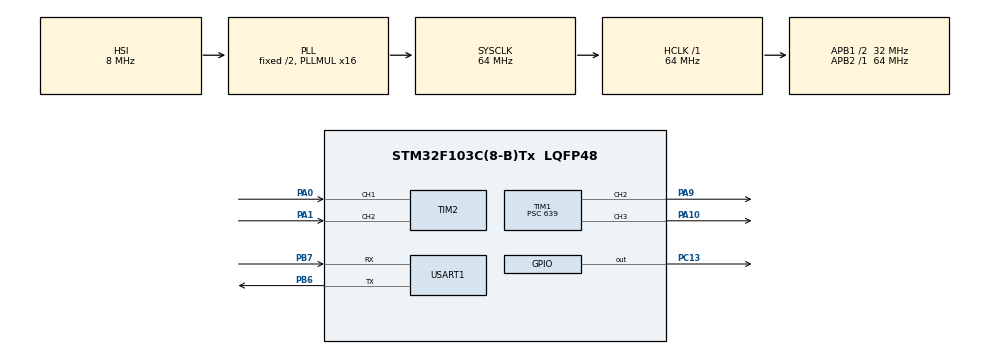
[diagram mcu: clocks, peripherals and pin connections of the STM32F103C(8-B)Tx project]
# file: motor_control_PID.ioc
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Dma.Request0=USART1_RX
Dma.Request1=USART1_TX
Dma.USART1_RX.0.Direction=DMA_PERIPH_TO_MEMORY
Dma.USART1_RX.0.Instance=DMA1_Channel5
Dma.USART1_RX.0.MemDataAlignment=DMA_MDATAALIGN_BYTE
Dma.USART1_RX.0.MemInc=DMA_MINC_ENABLE
Dma.USART1_RX.0.Mode=DMA_NORMAL
Dma.USART1_RX.0.PeriphDataAlignment=DMA_PDATAALIGN_BYTE
Dma.USART1_RX.0.PeriphInc=DMA_PINC_DISABLE
Dma.USART1_RX.0.Priority=DMA_PRIORITY_LOW
Dma.USART1_TX.1.Direction=DMA_MEMORY_TO_PERIPH
Dma.USART1_TX.1.Instance=DMA1_Channel4
Dma.USART1_TX.1.MemDataAlignment=DMA_MDATAALIGN_BYTE
Dma.USART1_TX.1.MemInc=DMA_MINC_ENABLE
Dma.USART1_TX.1.Mode=DMA_NORMAL
Dma.USART1_TX.1.PeriphDataAlignment=DMA_PDATAALIGN_BYTE
Dma.USART1_TX.1.PeriphInc=DMA_PINC_DISABLE
Dma.USART1_TX.1.Priority=DMA_PRIORITY_LOW
Mcu.Family=STM32F1
Mcu.Name=STM32F103C(8-B)Tx
Mcu.Package=LQFP48
NVIC.DMA1_Channel4_IRQn=true\:0\:0\:false\:false\:true\:false\:true\:true
NVIC.DMA1_Channel5_IRQn=true\:0\:0\:false\:false\:true\:false\:true\:true
NVIC.PriorityGroup=NVIC_PRIORITYGROUP_4
NVIC.TIM3_IRQn=true\:0\:0\:false\:false\:true\:true\:true\:true
NVIC.USART1_IRQn=true\:0\:0\:false\:false\:true\:true\:true\:true
PA0-WKUP.Signal=S_TIM2_CH1_ETR
PA1.Signal=S_TIM2_CH2
PA10.Signal=S_TIM1_CH3
PA13.Mode=Serial_Wire
PA13.Signal=SYS_JTMS-SWDIO
PA14.Mode=Serial_Wire
PA14.Signal=SYS_JTCK-SWCLK
PA9.Signal=S_TIM1_CH2
PB6.Mode=Asynchronous
PB6.Signal=USART1_TX
PB7.Mode=Asynchronous
PB7.Signal=USART1_RX
PC13-TAMPER-RTC.Signal=GPIO_Output
PD0-OSC_IN.Mode=HSE-External-Oscillator
PD0-OSC_IN.Signal=RCC_OSC_IN
PD1-OSC_OUT.Mode=HSE-External-Oscillator
PD1-OSC_OUT.Signal=RCC_OSC_OUT
ProjectManager.HeapSize=0x200
ProjectManager.StackSize=0x400
ProjectManager.TargetToolchain=MDK-ARM V5.32
RCC.AHBFreq_Value=64000000
RCC.APB1CLKDivider=RCC_HCLK_DIV2
RCC.APB1Freq_Value=32000000
RCC.APB1TimFreq_Value=64000000
RCC.APB2Freq_Value=64000000
RCC.APB2TimFreq_Value=64000000
RCC.HCLKFreq_Value=64000000
RCC.PLLMUL=RCC_PLL_MUL16
RCC.SYSCLKFreq_VALUE=64000000
RCC.SYSCLKSource=RCC_SYSCLKSOURCE_PLLCLK
RCC.USBFreq_Value=64000000
SH.S_TIM1_CH2.0=TIM1_CH2,PWM Generation2 CH2
SH.S_TIM1_CH3.0=TIM1_CH3,PWM Generation3 CH3
SH.S_TIM2_CH1_ETR.0=TIM2_CH1,Encoder_Interface
SH.S_TIM2_CH2.0=TIM2_CH2,Encoder_Interface
TIM1.Channel-PWM\ Generation2\ CH2=TIM_CHANNEL_2
TIM1.Channel-PWM\ Generation3\ CH3=TIM_CHANNEL_3
TIM1.Period=99
TIM1.Prescaler=639
TIM2.EncoderMode=TIM_ENCODERMODE_TI12
TIM2.IC1Filter=10
TIM2.IC2Filter=10
TIM3.Period=999
TIM3.Prescaler=639
USART1.VirtualMode=VM_ASYNC
VP_TIM3_VS_ClockSourceINT.Mode=Internal
board=custom

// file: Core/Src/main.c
/* USER CODE BEGIN Header */
/**
  ******************************************************************************
  * @file           : main.c
  * @brief          : Main program body
  ******************************************************************************
  * @attention
  *
  * Copyright (c) 2023 STMicroelectronics.
  * All rights reserved.
  *
  * This software is licensed under terms that can be found in the LICENSE file
  * in the root directory of this software component.
  * If no LICENSE file comes with this software, it is provided AS-IS.
  *
  ******************************************************************************
  */
/* USER CODE END Header */
#include "main.h"

/* USER CODE BEGIN Includes */
#include "encoder.h"
#include "motor.h"
#include "ema_filter.h"
#include "pid.h"
#include "cmd_handle.h"
#include "data_transfer_level.h"
#include "send_data_to_Qt.h"
/* USER CODE END Includes */

TIM_HandleTypeDef htim1;
TIM_HandleTypeDef htim2;
TIM_HandleTypeDef htim3;

UART_HandleTypeDef huart1;
DMA_HandleTypeDef hdma_usart1_rx;
DMA_HandleTypeDef hdma_usart1_tx;

void SystemClock_Config(void);
static void MX_GPIO_Init(void);
static void MX_DMA_Init(void);
static void MX_TIM1_Init(void);
static void MX_TIM2_Init(void);
static void MX_TIM3_Init(void);
static void MX_USART1_UART_Init(void);

/* USER CODE BEGIN 0 */

/*Those is object for motor*/
ENCODER foo_encoder;
MOTOR gear_motor;
PID_t velocity_pid;
PID_t position_pid;
EMA_FILTER_t foo_ema_filter;
MODE_t control_mode = MODE_IDLE;
CONTROL_MOTOR_t control_motor = STOP_MOTOR;
/*test*/
MODE_t control_mode_test = VELO_CONTROL_MODE;
CONTROL_MOTOR_t control_motor_test = START_MOTOR;
MOTOR gear_motor_test;
/*-----------------------------------------*/
/*Those are variable for transfering data*/
uint8_t motor_data[MAX_RAW_DATA_TX] = {0};
uint8_t length_motor_data = 0;
uint8_t frame_data_tx[MAX_FRAME_DATA_TX] = {0};
uint8_t length_frame_tx = 0;
uint8_t frame_data_rx[MAX_FRAME_DATA_RX] = {0};
uint8_t length_frame_rx = 0;
uint8_t decoded_data[MAX_RAW_DATA_RX] = {0};
uint16_t length_decoded_data = 0;
uint8_t new_incoming_data = 0;
int8_t check_frame = 0;
float motor_duty_test;
uint32_t test ;

void HAL_UARTEx_RxEventCallback(UART_HandleTypeDef *huart, uint16_t Size)
{
	HAL_UARTEx_ReceiveToIdle_DMA(&huart1,frame_data_rx,MAX_FRAME_DATA_RX);
	__HAL_DMA_DISABLE_IT(&hdma_usart1_rx,DMA_IT_HT);
	length_frame_rx = Size;
	new_incoming_data = 1;
}
/* USER CODE END 0 */

int main(void)
{

  /* MCU Configuration--------------------------------------------------------*/

  /* Reset of all peripherals, Initializes the Flash interface and the Systick. */
  HAL_Init();

  /* Configure the system clock */
  SystemClock_Config();

  /* Initialize all configured peripherals */
  MX_GPIO_Init();
  MX_DMA_Init();
  MX_TIM1_Init();
  MX_TIM2_Init();
  MX_TIM3_Init();
  MX_USART1_UART_Init();
  /* USER CODE BEGIN 2 */
	HAL_UARTEx_ReceiveToIdle_DMA(&huart1,frame_data_rx,MAX_FRAME_DATA_RX);
	__HAL_DMA_DISABLE_IT(&hdma_usart1_rx,DMA_IT_HT);
//	encoder_init(&foo_encoder,&htim2);
	motor_init(&gear_motor,&htim1);
	ema_filter_init(&foo_ema_filter);
	ema_filter_setalpha(&foo_ema_filter,0.1);
//	HAL_TIM_PWM_Start(&htim1, TIM_CHANNEL_2);
//	HAL_TIM_PWM_Start(&htim1, TIM_CHANNEL_3);
//	HAL_TIM_Base_Start_IT(&htim3);

//	pid_init(&velocity_pid,20,0.1,0);
//	gear_motor.set_point_velocity = 20;
//	htim1.Instance->CCR2 = 0;
//	htim1.Instance->CCR3 = 80;
//	control_mode = VELO_CONTROL_MODE;
//	control_motor = START_MOTOR;
  /* USER CODE END 2 */

  /* Infinite loop */
  while (1)
  {

    /* USER CODE BEGIN 3 */
			if (new_incoming_data == 1)
		{
			/*have new frame data that need to check */
			check_frame = decode_received_frame_data(frame_data_rx,&length_frame_rx,decoded_data,&length_decoded_data);
			test_cmd_handler(decoded_data,&gear_motor,&velocity_pid,&position_pid,&foo_encoder,&control_mode, &control_motor,&check_frame,&htim2);
			new_incoming_data = 0;
		}
  }
  /* USER CODE END 3 */
}

void SystemClock_Config(void)
{
  RCC_OscInitTypeDef RCC_OscInitStruct = {0};
  RCC_ClkInitTypeDef RCC_ClkInitStruct = {0};

  /** Initializes the RCC Oscillators according to the specified parameters
  * in the RCC_OscInitTypeDef structure.
  */
  RCC_OscInitStruct.OscillatorType = RCC_OSCILLATORTYPE_HSI;
  RCC_OscInitStruct.HSIState = RCC_HSI_ON;
  RCC_OscInitStruct.HSICalibrationValue = RCC_HSICALIBRATION_DEFAULT;
  RCC_OscInitStruct.PLL.PLLState = RCC_PLL_ON;
  RCC_OscInitStruct.PLL.PLLSource = RCC_PLLSOURCE_HSI_DIV2;
  RCC_OscInitStruct.PLL.PLLMUL = RCC_PLL_MUL16;
  if (HAL_RCC_OscConfig(&RCC_OscInitStruct) != HAL_OK)
  {
    Error_Handler();
  }

  /** Initializes the CPU, AHB and APB buses clocks
  */
  RCC_ClkInitStruct.ClockType = RCC_CLOCKTYPE_HCLK|RCC_CLOCKTYPE_SYSCLK
                              |RCC_CLOCKTYPE_PCLK1|RCC_CLOCKTYPE_PCLK2;
  RCC_ClkInitStruct.SYSCLKSource = RCC_SYSCLKSOURCE_PLLCLK;
  RCC_ClkInitStruct.AHBCLKDivider = RCC_SYSCLK_DIV1;
  RCC_ClkInitStruct.APB1CLKDivider = RCC_HCLK_DIV2;
  RCC_ClkInitStruct.APB2CLKDivider = RCC_HCLK_DIV1;

  if (HAL_RCC_ClockConfig(&RCC_ClkInitStruct, FLASH_LATENCY_2) != HAL_OK)
  {
    Error_Handler();
  }
}

static void MX_TIM1_Init(void)
{

  TIM_MasterConfigTypeDef sMasterConfig = {0};
  TIM_OC_InitTypeDef sConfigOC = {0};
  TIM_BreakDeadTimeConfigTypeDef sBreakDeadTimeConfig = {0};

  htim1.Instance = TIM1;
  htim1.Init.Prescaler = 639;
  htim1.Init.CounterMode = TIM_COUNTERMODE_UP;
  htim1.Init.Period = 99;
  htim1.Init.ClockDivision = TIM_CLOCKDIVISION_DIV1;
  htim1.Init.RepetitionCounter = 0;
  htim1.Init.AutoReloadPreload = TIM_AUTORELOAD_PRELOAD_DISABLE;
  if (HAL_TIM_PWM_Init(&htim1) != HAL_OK)
  {
    Error_Handler();
  }
  sMasterConfig.MasterOutputTrigger = TIM_TRGO_RESET;
  sMasterConfig.MasterSlaveMode = TIM_MASTERSLAVEMODE_DISABLE;
  if (HAL_TIMEx_MasterConfigSynchronization(&htim1, &sMasterConfig) != HAL_OK)
  {
    Error_Handler();
  }
  sConfigOC.OCMode = TIM_OCMODE_PWM1;
  sConfigOC.Pulse = 0;
  sConfigOC.OCPolarity = TIM_OCPOLARITY_HIGH;
  sConfigOC.OCNPolarity = TIM_OCNPOLARITY_HIGH;
  sConfigOC.OCFastMode = TIM_OCFAST_DISABLE;
  sConfigOC.OCIdleState = TIM_OCIDLESTATE_RESET;
  sConfigOC.OCNIdleState = TIM_OCNIDLESTATE_RESET;
  if (HAL_TIM_PWM_ConfigChannel(&htim1, &sConfigOC, TIM_CHANNEL_2) != HAL_OK)
  {
    Error_Handler();
  }
  if (HAL_TIM_PWM_ConfigChannel(&htim1, &sConfigOC, TIM_CHANNEL_3) != HAL_OK)
  {
    Error_Handler();
  }
  sBreakDeadTimeConfig.OffStateRunMode = TIM_OSSR_DISABLE;
  sBreakDeadTimeConfig.OffStateIDLEMode = TIM_OSSI_DISABLE;
  sBreakDeadTimeConfig.LockLevel = TIM_LOCKLEVEL_OFF;
  sBreakDeadTimeConfig.DeadTime = 0;
  sBreakDeadTimeConfig.BreakState = TIM_BREAK_DISABLE;
  sBreakDeadTimeConfig.BreakPolarity = TIM_BREAKPOLARITY_HIGH;
  sBreakDeadTimeConfig.AutomaticOutput = TIM_AUTOMATICOUTPUT_DISABLE;
  if (HAL_TIMEx_ConfigBreakDeadTime(&htim1, &sBreakDeadTimeConfig) != HAL_OK)
  {
    Error_Handler();
  }
  HAL_TIM_MspPostInit(&htim1);

}

static void MX_TIM2_Init(void)
{

  TIM_Encoder_InitTypeDef sConfig = {0};
  TIM_MasterConfigTypeDef sMasterConfig = {0};

  htim2.Instance = TIM2;
  htim2.Init.Prescaler = 0;
  htim2.Init.CounterMode = TIM_COUNTERMODE_UP;
  htim2.Init.Period = 65535;
  htim2.Init.ClockDivision = TIM_CLOCKDIVISION_DIV1;
  htim2.Init.AutoReloadPreload = TIM_AUTORELOAD_PRELOAD_DISABLE;
  sConfig.EncoderMode = TIM_ENCODERMODE_TI12;
  sConfig.IC1Polarity = TIM_ICPOLARITY_RISING;
  sConfig.IC1Selection = TIM_ICSELECTION_DIRECTTI;
  sConfig.IC1Prescaler = TIM_ICPSC_DIV1;
  sConfig.IC1Filter = 10;
  sConfig.IC2Polarity = TIM_ICPOLARITY_RISING;
  sConfig.IC2Selection = TIM_ICSELECTION_DIRECTTI;
  sConfig.IC2Prescaler = TIM_ICPSC_DIV1;
  sConfig.IC2Filter = 10;
  if (HAL_TIM_Encoder_Init(&htim2, &sConfig) != HAL_OK)
  {
    Error_Handler();
  }
  sMasterConfig.MasterOutputTrigger = TIM_TRGO_RESET;
  sMasterConfig.MasterSlaveMode = TIM_MASTERSLAVEMODE_DISABLE;
  if (HAL_TIMEx_MasterConfigSynchronization(&htim2, &sMasterConfig) != HAL_OK)
  {
    Error_Handler();
  }

}

static void MX_TIM3_Init(void)
{

  TIM_ClockConfigTypeDef sClockSourceConfig = {0};
  TIM_MasterConfigTypeDef sMasterConfig = {0};

  htim3.Instance = TIM3;
  htim3.Init.Prescaler = 639;
  htim3.Init.CounterMode = TIM_COUNTERMODE_UP;
  htim3.Init.Period = 999;
  htim3.Init.ClockDivision = TIM_CLOCKDIVISION_DIV1;
  htim3.Init.AutoReloadPreload = TIM_AUTORELOAD_PRELOAD_DISABLE;
  if (HAL_TIM_Base_Init(&htim3) != HAL_OK)
  {
    Error_Handler();
  }
  sClockSourceConfig.ClockSource = TIM_CLOCKSOURCE_INTERNAL;
  if (HAL_TIM_ConfigClockSource(&htim3, &sClockSourceConfig) != HAL_OK)
  {
    Error_Handler();
  }
  sMasterConfig.MasterOutputTrigger = TIM_TRGO_RESET;
  sMasterConfig.MasterSlaveMode = TIM_MASTERSLAVEMODE_DISABLE;
  if (HAL_TIMEx_MasterConfigSynchronization(&htim3, &sMasterConfig) != HAL_OK)
  {
    Error_Handler();
  }

}

static void MX_USART1_UART_Init(void)
{

  huart1.Instance = USART1;
  huart1.Init.BaudRate = 115200;
  huart1.Init.WordLength = UART_WORDLENGTH_8B;
  huart1.Init.StopBits = UART_STOPBITS_1;
  huart1.Init.Parity = UART_PARITY_NONE;
  huart1.Init.Mode = UART_MODE_TX_RX;
  huart1.Init.HwFlowCtl = UART_HWCONTROL_NONE;
  huart1.Init.OverSampling = UART_OVERSAMPLING_16;
  if (HAL_UART_Init(&huart1) != HAL_OK)
  {
    Error_Handler();
  }

}

static void MX_DMA_Init(void)
{

  /* DMA controller clock enable */
  __HAL_RCC_DMA1_CLK_ENABLE();

  /* DMA interrupt init */
  /* DMA1_Channel4_IRQn interrupt configuration */
  HAL_NVIC_SetPriority(DMA1_Channel4_IRQn, 0, 0);
  HAL_NVIC_EnableIRQ(DMA1_Channel4_IRQn);
  /* DMA1_Channel5_IRQn interrupt configuration */
  HAL_NVIC_SetPriority(DMA1_Channel5_IRQn, 0, 0);
  HAL_NVIC_EnableIRQ(DMA1_Channel5_IRQn);

}

static void MX_GPIO_Init(void)
{
  GPIO_InitTypeDef GPIO_InitStruct = {0};

  /* GPIO Ports Clock Enable */
  __HAL_RCC_GPIOC_CLK_ENABLE();
  __HAL_RCC_GPIOD_CLK_ENABLE();
  __HAL_RCC_GPIOA_CLK_ENABLE();
  __HAL_RCC_GPIOB_CLK_ENABLE();

  /*Configure GPIO pin Output Level */
  HAL_GPIO_WritePin(GPIOC, GPIO_PIN_13, GPIO_PIN_RESET);

  /*Configure GPIO pin : PC13 */
  GPIO_InitStruct.Pin = GPIO_PIN_13;
  GPIO_InitStruct.Mode = GPIO_MODE_OUTPUT_PP;
  GPIO_InitStruct.Pull = GPIO_NOPULL;
  GPIO_InitStruct.Speed = GPIO_SPEED_FREQ_LOW;
  HAL_GPIO_Init(GPIOC, &GPIO_InitStruct);

}

/* USER CODE BEGIN 4 */

void HAL_TIM_PeriodElapsedCallback(TIM_HandleTypeDef *htim)
{
	/*process after 1 sample time*/
	if(htim->Instance == TIM3)
	{
		/*Step 1: read pulse feedback from motor*/
		read_from_encoder(&foo_encoder,&htim2);
		if (control_mode == POSI_CONTROL_MODE && control_motor == START_MOTOR)
		{
			/*contrl position*/
		/*Step 2: caluate position */
		calculate_motor(&foo_encoder,&gear_motor,CALCULATE_POSITION);
		/*Step 3: processed by pid controller */
		float motor_duty;
		motor_duty = pid_compute_position(&position_pid,&gear_motor,&foo_ema_filter);
		/*Step 4: control motor*/
		motor_set_PWM(motor_duty,&htim1);
		}else if (control_mode == VELO_CONTROL_MODE && control_motor == START_MOTOR)
		{
			/*control velocity*/
		/*Step 2: caluate position */
		calculate_motor(&foo_encoder,&gear_motor,CALCULATE_VELOCITY);
		/*Step 3: processed by pid controller */
		float motor_duty;
		motor_duty_test = pid_compute_velocity(&velocity_pid,&gear_motor,&foo_ema_filter);
		/*Step 4: control motor*/
		motor_set_PWM(motor_duty_test,&htim1);
		}
		send_data_to_Qt(&gear_motor,&control_mode,&control_motor,frame_data_tx,&length_frame_tx);
	}
}
/* USER CODE END 4 */

void Error_Handler(void)
{
  __disable_irq();
  while (1)
  {
  }
}
